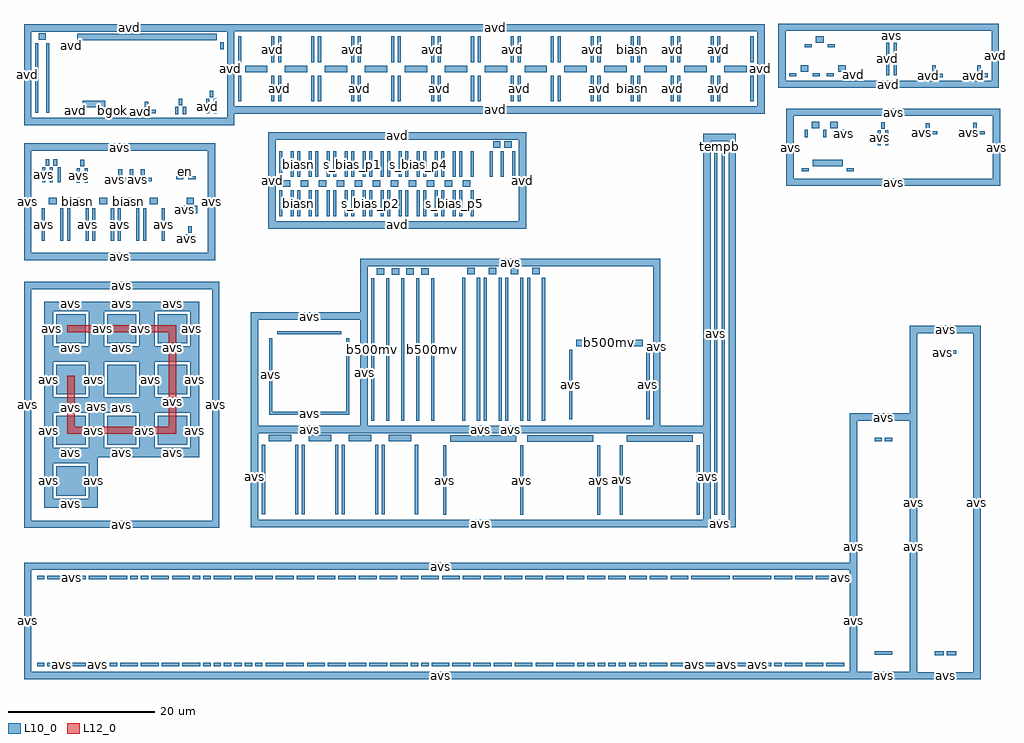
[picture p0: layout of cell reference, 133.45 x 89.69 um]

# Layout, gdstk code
import gdstk
lib = gdstk.Library(unit=1e-6, precision=1e-09)
def R(c, l, rs):  # rectangles x0, y0, x1, y1
    for r in rs: c.add(gdstk.rectangle(r[:2], r[2:], *l))
def A(c, l, x, y, w, h, nx, ny, dx, dy):  # array of equal rectangles
    R(c, l, [(x+i*dx, y+j*dy, x+i*dx+w, y+j*dy+h) for i in range(nx) for j in range(ny)])
L10_0 = (10, 0)
L12_0 = (12, 0)

referenceg_it_xpm8_pm_xp = lib.new_cell('referenceG_IT_XPM8_PM_XPM0_XPM27_XPM28_XPM29_XPM30_XPM31_XPM42_XPM43_XPM48_')
A(referenceg_it_xpm8_pm_xp, L10_0, -13.15, 0.66, 1, 0.89, 11, 1, 2.46, 0)
A(referenceg_it_xpm8_pm_xp, L10_0, 15.1, 2.03, 0.42, 3.5, 3, 1, 1.54, 0)
R(referenceg_it_xpm8_pm_xp, L10_0, [(-15.13,-5.02,20.1,-4.02), (-15.13,-5.02,-14.13,8.13), (19.1,-5.02,20.1,8.13), (-13.63,-3.32,-13.21,0.18), (-12.09,-3.32,-11.67,0.18), (-11.17,-3.32,-10.75,0.18), (-9.63,-3.32,-9.21,0.18), (-8.71,-3.32,-8.29,0.18), (-7.17,-3.32,-6.75,0.18), (-6.25,-3.32,-5.83,0.18), (-4.71,-3.32,-4.29,0.18), (-3.79,-3.32,-3.37,0.18), (-2.25,-3.32,-1.83,0.18), (-1.33,-3.32,-0.91,0.18), (0.21,-3.32,0.63,0.18), (1.13,-3.32,1.55,0.18), (2.67,-3.32,3.09,0.18), (3.59,-3.32,4.01,0.18), (5.13,-3.32,5.55,0.18), (6.05,-3.32,6.47,0.18), (7.59,-3.32,8.01,0.18), (8.51,-3.32,8.93,0.18), (10.05,-3.32,10.47,0.18), (10.97,-3.32,11.39,0.18), (12.51,-3.32,12.93,0.18), (-13.63,2.03,-13.21,5.53), (-12.09,2.03,-11.67,5.53), (-11.17,2.03,-10.75,5.53), (-9.63,2.03,-9.21,5.53), (-8.71,2.03,-8.29,5.53), (-7.17,2.03,-6.75,5.53), (-6.25,2.03,-5.83,5.53), (-4.71,2.03,-4.29,5.53), (-3.79,2.03,-3.37,5.53), (-2.25,2.03,-1.83,5.53), (-1.33,2.03,-0.91,5.53), (0.21,2.03,0.63,5.53), (1.13,2.03,1.55,5.53), (2.67,2.03,3.09,5.53), (3.59,2.03,4.01,5.53), (5.13,2.03,5.55,5.53), (6.05,2.03,6.47,5.53), (7.59,2.03,8.01,5.53), (8.51,2.03,8.93,5.53), (10.05,2.03,10.47,5.53), (10.97,2.03,11.39,5.53), (12.51,2.03,12.93,5.53), (15.58,6.01,16.58,6.9), (17.12,6.01,18.12,6.9), (-15.13,7.13,20.1,8.13)])

referenceg_cm_xnm22_xnm2 = lib.new_cell('referenceG_CM_XNM22_XNM23_IT_XNM15_IT_XNM27')
A(referenceg_cm_xnm22_xnm2, L10_0, 8.755, -44.155, 0.42, 9.5, 3, 1, 10.54, 0)
A(referenceg_cm_xnm22_xnm2, L10_0, -15.065, -34.115, 3.06, 0.89, 4, 1, 5.46, 0)
R(referenceg_cm_xnm22_xnm2, L10_0, [(-17.515,-45.855,45.345,-44.855), (-17.515,-45.855,-16.515,-31.995), (44.345,-45.855,45.345,-31.995), (32.885,-44.145,33.305,-34.645), (43.425,-44.145,43.845,-34.645), (-16.015,-44.095,-15.595,-34.595), (-11.475,-44.095,-11.055,-34.595), (-10.555,-44.095,-10.135,-34.595), (-6.015,-44.095,-5.595,-34.595), (-5.095,-44.095,-4.675,-34.595), (-0.555,-44.095,-0.135,-34.595), (0.365,-44.095,0.785,-34.595), (4.905,-44.095,5.325,-34.595), (9.705,-34.175,18.765,-33.285), (20.245,-34.175,29.305,-33.285), (33.835,-34.165,42.895,-33.275), (-17.515,-32.995,45.345,-31.995)])

referenceg_cm_xnm1_xnm2_ = lib.new_cell('referenceG_CM_XNM1_XNM2_IT_XNM24_IT_XNM4')
A(referenceg_cm_xnm1_xnm2_, L10_0, -1.055, -31.305, 0.42, 19.5, 5, 1, 2.04, 0)
A(referenceg_cm_xnm1_xnm2_, L10_0, -0.34, -11.325, 1.03, 0.89, 4, 1, 2.04, 0)
A(referenceg_cm_xnm1_xnm2_, L10_0, 12.06, -11.295, 1.03, 0.89, 4, 1, 2.96, 0)
R(referenceg_cm_xnm1_xnm2_, L10_0, [(-2.555,-33.005,38.475,-32.005), (-2.555,-33.005,-1.555,-9.175), (37.475,-33.005,38.475,-9.175), (11.345,-31.275,11.765,-11.775), (13.385,-31.275,13.805,-11.775), (14.305,-31.275,14.725,-11.775), (16.345,-31.275,16.765,-11.775), (17.265,-31.275,17.685,-11.775), (19.305,-31.275,19.725,-11.775), (20.225,-31.275,20.645,-11.775), (22.265,-31.275,22.685,-11.775), (26.015,-31.095,26.435,-21.595), (36.555,-31.095,36.975,-21.595), (26.965,-21.115,36.025,-20.225), (-2.555,-10.175,38.475,-9.175)])

referenceg_it_xpm0xi18_i = lib.new_cell('referenceG_IT_XPM0XI18_IT_XPM39_IT_XPM40_IT_XPM5_IT_XPM52_IT_XPM53')
R(referenceg_it_xpm0xi18_i, L10_0, [(-48.54,9.11,-19.77,10.11), (-48.54,9.11,-47.54,22.91), (-20.77,9.11,-19.77,22.91), (-27.86,10.62,-27.44,11.62), (-26.82,10.62,-26.4,11.62), (-33.02,10.72,-32.1,11.22), (-31.48,10.72,-30.56,11.22), (-23.64,10.72,-23.22,12.72), (-22.6,10.72,-22.18,12.72), (-47.04,10.81,-46.62,20.31), (-45.5,10.81,-45.08,20.31), (-41.98,10.84,-41.06,11.34), (-36.94,10.84,-36.02,11.34), (-32.04,11.45,-31.54,12.34), (-40.53,11.57,-37.47,12.46), (-27.38,11.85,-26.88,12.74), (-23.16,12.95,-22.66,13.84), (-42.23,19.48,-41.81,20.48), (-21.69,19.48,-21.27,20.48), (-41.28,20.71,-22.22,21.6), (-46.56,20.79,-45.56,21.68), (-48.54,21.91,-19.77,22.91)])

referenceg_cm_xnm21_xnm2 = lib.new_cell('referenceG_CM_XNM21_XNM28_IT_XNM0XI18_IT_XNM14_IT_XNM17_IT_XNM29_IT_XNM40_P')
A(referenceg_cm_xnm21_xnm2, L10_0, -45.165, -1.735, 1.06, 0.89, 5, 1, 3.46, 0)
A(referenceg_cm_xnm21_xnm2, L10_0, -46.045, 1.335, 0.42, 2, 3, 1, 1.04, 0)
A(referenceg_cm_xnm21_xnm2, L10_0, -36.625, 1.445, 0.92, 0.5, 4, 1, 1.54, 0)
A(referenceg_cm_xnm21_xnm2, L10_0, -35.645, 2.175, 0.5, 0.89, 3, 1, 1.54, 0)
R(referenceg_cm_xnm21_xnm2, L10_0, [(-48.545,-9.345,-22.405,-8.345), (-48.545,-9.345,-47.545,6.615), (-23.405,-9.345,-22.405,6.615), (-26.575,-6.835,-26.155,-5.835), (-25.535,-6.835,-25.115,-5.835), (-46.115,-6.715,-45.695,-2.215), (-43.575,-6.715,-43.155,-2.215), (-42.655,-6.715,-42.235,-2.215), (-40.115,-6.715,-39.695,-2.215), (-39.195,-6.715,-38.775,-2.215), (-36.655,-6.715,-36.235,-2.215), (-35.735,-6.715,-35.315,-2.215), (-33.195,-6.715,-32.775,-2.215), (-32.275,-6.715,-31.855,-2.215), (-29.735,-6.715,-29.315,-2.215), (-26.095,-5.605,-25.595,-4.715), (-26.795,-2.935,-26.375,-1.935), (-25.255,-2.935,-24.835,-1.935), (-26.315,-1.705,-25.315,-0.815), (-41.315,1.245,-40.895,3.245), (-40.275,1.245,-39.855,3.245), (-27.755,1.685,-26.775,2.105), (-26.075,1.685,-25.095,2.105), (-26.675,2.335,-26.175,3.225), (-40.835,3.475,-40.335,4.365), (-45.565,3.565,-45.065,4.455), (-44.525,3.565,-44.025,4.455), (-48.545,5.615,-22.405,6.615)])

referenceic_cc0 = lib.new_cell('referenceIC_CC0')
R(referenceic_cc0, L10_0, [(-17.52,-32.98,-1.56,-31.98), (-17.52,-32.98,-16.52,-16.5), (-2.56,-32.98,-1.56,-16.5), (-15.02,-30.48,-4.06,-30.06), (-15.02,-30.06,-14.6,-20), (-4.48,-30.06,-4.06,-20), (-13.94,-19.5,-5.14,-19.08), (-17.52,-17.5,-1.56,-16.5)])

referenceir_rr14 = lib.new_cell('referenceIR_RR14')
R(referenceir_rr14, L10_0, [(64.38,-66.65,73.54,-65.65), (64.38,-66.65,65.38,-30.31), (72.54,-66.65,73.54,-30.31), (67.75,-63.32,68.75,-62.82), (67.75,-63.32,70.17,-62.82), (67.75,-63.32,68.75,-62.9), (69.17,-63.32,70.17,-62.82), (69.17,-63.32,70.17,-62.9), (67.75,-34.14,68.75,-33.64), (69.17,-34.14,70.17,-33.64), (67.75,-34.06,68.75,-33.64), (69.17,-34.06,70.17,-33.64), (64.38,-31.31,73.54,-30.31)])

referenceit_xnm19 = lib.new_cell('referenceIT_XNM19')
R(referenceit_xnm19, L10_0, [(44.315,-45.865,48.775,-44.865), (44.315,-45.865,45.315,7.935), (47.775,-45.865,48.775,7.935), (45.815,-44.165,46.235,5.335), (46.855,-44.165,47.275,5.335), (46.295,5.815,46.795,6.705), (44.315,6.935,48.775,7.935)])

referencesr_rr48_rr50 = lib.new_cell('referenceSR_RR48_RR50')
A(referencesr_rr48_rr50, L10_0, 75.94, -63.35, 0.42, 0.5, 4, 2, 0.84, 41.18)
A(referencesr_rr48_rr50, L10_0, 75.94, -63.35, 0.42, 0.42, 4, 2, 0.84, 41.26)
R(referencesr_rr48_rr50, L10_0, [(72.57,-66.68,82.25,-65.68), (72.57,-66.68,73.57,-18.34), (81.25,-66.68,82.25,-18.34), (75.94,-63.35,77.2,-62.85), (77.62,-63.35,78.88,-62.85), (72.57,-19.34,82.25,-18.34)])

referencesr_rr10_rr12_rr = lib.new_cell('referenceSR_RR10_RR12_RR15_RR18_RR2_RR27_RR28_RR3_RR39_RR4_RR40_RR41_RR42')
A(referencesr_rr10_rr12_rr, L10_0, -46.77, -64.875, 1, 0.5, 78, 2, 1.42, 11.91)
A(referencesr_rr10_rr12_rr, L10_0, -46.77, -64.875, 1, 0.42, 78, 2, 1.42, 11.99)
A(referencesr_rr10_rr12_rr, L10_0, -35.41, -64.875, 2.42, 0.5, 4, 1, 2.84, 0)
A(referencesr_rr10_rr12_rr, L10_0, -15.53, -64.875, 2.42, 0.5, 7, 1, 2.84, 0)
A(referencesr_rr10_rr12_rr, L10_0, 7.19, -64.875, 2.42, 0.5, 7, 1, 2.84, 0)
A(referencesr_rr10_rr12_rr, L10_0, 55.47, -64.875, 2.42, 0.5, 3, 1, 2.84, 0)
A(referencesr_rr10_rr12_rr, L10_0, -22.63, -52.965, 2.42, 0.5, 23, 1, 2.84, 0)
A(referencesr_rr10_rr12_rr, L10_0, 54.05, -52.965, 2.42, 0.5, 3, 1, 2.84, 0)
R(referencesr_rr10_rr12_rr, L10_0, [(-48.55,-66.655,65.35,-65.655), (-48.55,-66.655,-47.55,-50.685), (64.35,-66.655,65.35,-50.685), (-45.35,-64.875,-40.09,-64.375), (-39.67,-64.875,-37.25,-64.375), (37.01,-64.875,39.43,-64.375), (39.85,-64.875,42.27,-64.375), (42.69,-64.875,47.95,-64.375), (48.37,-64.875,53.63,-64.375), (-45.35,-52.965,-40.09,-52.465), (-39.67,-52.965,-37.25,-52.465), (-36.83,-52.965,-34.41,-52.465), (-31.15,-52.965,-28.73,-52.465), (-28.31,-52.965,-25.89,-52.465), (42.69,-52.965,47.95,-52.465), (48.37,-52.965,53.63,-52.465), (-48.55,-51.685,65.35,-50.685)])

referencebg_qq0_qq3_qq9 = lib.new_cell('referenceBG_QQ0_QQ3_QQ9')
A(referencebg_qq0_qq3_qq9, L10_0, -45.81, -43.22, 1.26, 7.36, 1, 4, 0, 6.94)
A(referencebg_qq0_qq3_qq9, L10_0, -39.71, -43.22, 1.26, 7.36, 1, 4, 0, 6.94)
A(referencebg_qq0_qq3_qq9, L10_0, -44.97, -42.38, 0.42, 5.68, 1, 4, 0, 6.94)
A(referencebg_qq0_qq3_qq9, L10_0, -39.71, -42.38, 0.42, 5.68, 1, 4, 0, 6.94)
A(referencebg_qq0_qq3_qq9, L10_0, -45.81, -36.28, 7.36, 1.26, 3, 2, 6.94, 6.1)
A(referencebg_qq0_qq3_qq9, L10_0, -45.39, -36.28, 6.52, 0.42, 3, 3, 6.94, 6.94)
A(referencebg_qq0_qq3_qq9, L10_0, -38.87, -36.28, 1.26, 7.36, 1, 3, 0, 6.94)
A(referencebg_qq0_qq3_qq9, L10_0, -32.77, -36.28, 1.26, 7.36, 1, 3, 0, 6.94)
A(referencebg_qq0_qq3_qq9, L10_0, -31.93, -36.28, 1.26, 7.36, 1, 3, 0, 6.94)
A(referencebg_qq0_qq3_qq9, L10_0, -25.83, -36.28, 1.26, 7.36, 1, 3, 0, 6.94)
A(referencebg_qq0_qq3_qq9, L10_0, -44.55, -35.44, 4.84, 0.42, 3, 3, 6.94, 6.94)
A(referencebg_qq0_qq3_qq9, L10_0, -38.03, -35.44, 0.42, 5.68, 1, 3, 0, 6.94)
A(referencebg_qq0_qq3_qq9, L10_0, -32.77, -35.44, 0.42, 5.68, 1, 3, 0, 6.94)
A(referencebg_qq0_qq3_qq9, L10_0, -31.09, -35.44, 0.42, 5.68, 1, 3, 0, 6.94)
A(referencebg_qq0_qq3_qq9, L10_0, -25.83, -35.44, 0.42, 5.68, 1, 3, 0, 6.94)
A(referencebg_qq0_qq3_qq9, L10_0, -44.13, -34.6, 4, 4, 3, 3, 6.94, 6.94)
A(referencebg_qq0_qq3_qq9, L10_0, -44.97, -30.18, 5.68, 0.42, 3, 3, 6.94, 6.94)
A(referencebg_qq0_qq3_qq9, L10_0, -45.81, -29.34, 7.36, 1.26, 3, 2, 6.94, 6.1)
A(referencebg_qq0_qq3_qq9, L10_0, -45.81, -22.4, 7.36, 1.26, 3, 2, 6.94, 6.1)
A(referencebg_qq0_qq3_qq9, L10_0, -45.81, -15.46, 7.36, 0.42, 3, 1, 6.94, 0)
R(referencebg_qq0_qq3_qq9, L10_0, [(-48.55,-45.96,-21.83,-44.96), (-48.55,-45.96,-47.55,-12.3), (-22.83,-45.96,-21.83,-12.3), (-45.81,-43.22,-45.39,-15.46), (-45.81,-43.22,-38.45,-41.96), (-45.39,-43.22,-38.87,-42.8), (-38.87,-43.22,-38.45,-15.46), (-44.55,-42.38,-39.71,-41.96), (-44.13,-41.54,-40.13,-37.54), (-45.81,-37.12,-38.45,-35.86), (-44.97,-37.12,-39.29,-36.7), (-31.93,-36.28,-31.51,-15.46), (-24.99,-36.28,-24.57,-15.46), (-48.55,-13.3,-21.83,-12.3)])
R(referencebg_qq0_qq3_qq9, L12_0, [(-42.63,-33.1,-27.75,-32.1), (-42.63,-33.1,-41.63,-25.16), (-28.75,-33.1,-27.75,-18.22), (-42.63,-19.22,-27.75,-18.22)])

referencecm_xpm1_xpm2_xp = lib.new_cell('referenceCM_XPM1_XPM2_XPM32_XPM33_XPM34_XPM35_XPM36_XPM44_XPM45_XPM46_XPM')
A(referencecm_xpm1_xpm2_xp, L10_0, -18.33, 16.37, 3.06, 0.89, 13, 1, 5.46, 0)
R(referencecm_xpm1_xpm2_xp, L10_0, [(-20.78,10.69,52.7,11.69), (-20.78,10.69,-19.78,22.94), (51.7,10.69,52.7,22.94), (-19.28,12.39,-18.86,15.89), (-14.74,12.39,-14.32,15.89), (-13.82,12.39,-13.4,15.89), (-9.28,12.39,-8.86,15.89), (-8.36,12.39,-7.94,15.89), (-3.82,12.39,-3.4,15.89), (-2.9,12.39,-2.48,15.89), (1.64,12.39,2.06,15.89), (2.56,12.39,2.98,15.89), (7.1,12.39,7.52,15.89), (8.02,12.39,8.44,15.89), (12.56,12.39,12.98,15.89), (13.48,12.39,13.9,15.89), (18.02,12.39,18.44,15.89), (18.94,12.39,19.36,15.89), (23.48,12.39,23.9,15.89), (24.4,12.39,24.82,15.89), (28.94,12.39,29.36,15.89), (29.86,12.39,30.28,15.89), (34.4,12.39,34.82,15.89), (35.32,12.39,35.74,15.89), (39.86,12.39,40.28,15.89), (40.78,12.39,41.2,15.89), (45.32,12.39,45.74,15.89), (46.24,12.39,46.66,15.89), (50.78,12.39,51.2,15.89), (-19.28,17.74,-18.86,21.24), (-14.74,17.74,-14.32,21.24), (-13.82,17.74,-13.4,21.24), (-9.28,17.74,-8.86,21.24), (-8.36,17.74,-7.94,21.24), (-3.82,17.74,-3.4,21.24), (-2.9,17.74,-2.48,21.24), (1.64,17.74,2.06,21.24), (2.56,17.74,2.98,21.24), (7.1,17.74,7.52,21.24), (8.02,17.74,8.44,21.24), (12.56,17.74,12.98,21.24), (13.48,17.74,13.9,21.24), (18.02,17.74,18.44,21.24), (18.94,17.74,19.36,21.24), (23.48,17.74,23.9,21.24), (24.4,17.74,24.82,21.24), (28.94,17.74,29.36,21.24), (29.86,17.74,30.28,21.24), (34.4,17.74,34.82,21.24), (35.32,17.74,35.74,21.24), (39.86,17.74,40.28,21.24), (40.78,17.74,41.2,21.24), (45.32,17.74,45.74,21.24), (46.24,17.74,46.66,21.24), (50.78,17.74,51.2,21.24), (-20.78,21.94,52.7,22.94)])

referencexi0g_it_xnm0xi3 = lib.new_cell('referenceXI0G_IT_XNM0XI3_IT_XNM0XI4_IT_XNM3_IT_XNM4_SM_XNM0_XNM2')
A(referencexi0g_it_xnm0xi3, L10_0, 58.185, 7.455, 0.42, 1, 3, 1, 2.54, 0)
R(referencexi0g_it_xnm0xi3, L10_0, [(55.685,0.795,84.895,1.795), (55.685,0.795,56.685,11.375), (83.895,0.795,84.895,11.375), (57.755,2.815,58.735,3.235), (63.935,2.815,64.915,3.235), (59.305,3.465,63.365,4.355), (68.185,6.385,68.605,8.385), (69.225,6.385,69.645,8.385), (73.685,7.835,74.665,8.255), (75.365,7.835,76.345,8.255), (80.165,7.875,81.145,8.295), (81.845,7.875,82.825,8.295), (74.765,8.485,75.265,9.375), (81.245,8.525,81.745,9.415), (68.665,8.615,69.165,9.505), (59.135,8.685,60.195,9.575), (61.675,8.685,62.735,9.575), (55.685,10.375,84.895,11.375)])

referencexi0g_it_xpm0xi3 = lib.new_cell('referenceXI0G_IT_XPM0XI3_IT_XPM0XI4_IT_XPM2_IT_XPM3_SM_XPM0_XPM1')
R(referencexi0g_it_xpm0xi3, L10_0, [(54.58,14.2,84.74,15.2), (54.58,14.2,55.58,23.01), (83.74,14.2,84.74,23.01), (74.62,15.65,75.54,16.15), (76.16,15.65,77.08,16.15), (80.78,15.68,81.7,16.18), (82.32,15.68,83.24,16.18), (56.08,15.77,57.06,16.19), (59.26,15.77,60.24,16.19), (61.2,15.77,62.18,16.19), (64.38,15.77,65.36,16.19), (69.31,15.91,69.73,20.41), (70.35,15.91,70.77,20.41), (75.6,16.38,76.1,17.27), (81.76,16.41,82.26,17.3), (57.63,16.42,58.69,17.31), (62.75,16.42,63.81,17.31), (58.17,19.74,59.15,20.16), (61.35,19.74,62.33,20.16), (59.72,20.39,60.78,21.28), (69.79,20.89,70.29,21.78), (54.58,22.01,84.74,23.01)])

referencexi0 = lib.new_cell('referenceXI0')
referencexi0.add(gdstk.Reference(referencexi0g_it_xnm0xi3, (0,0)))
referencexi0.add(gdstk.Reference(referencexi0g_it_xpm0xi3, (0,0)))

reference = lib.new_cell('reference')
reference.add(gdstk.Reference(referenceg_it_xpm8_pm_xp, (0,0)))
reference.add(gdstk.Reference(referenceg_cm_xnm22_xnm2, (0,0)))
reference.add(gdstk.Reference(referenceg_cm_xnm1_xnm2_, (0,0)))
reference.add(gdstk.Reference(referenceg_it_xpm0xi18_i, (0,0)))
reference.add(gdstk.Reference(referenceg_cm_xnm21_xnm2, (0,0)))
reference.add(gdstk.Reference(referenceic_cc0, (0,0)))
reference.add(gdstk.Reference(referenceir_rr14, (0,0)))
reference.add(gdstk.Reference(referenceit_xnm19, (0,0)))
reference.add(gdstk.Reference(referencesr_rr48_rr50, (0,0)))
reference.add(gdstk.Reference(referencesr_rr10_rr12_rr, (0,0)))
reference.add(gdstk.Reference(referencebg_qq0_qq3_qq9, (0,0)))
reference.add(gdstk.Reference(referencecm_xpm1_xpm2_xp, (0,0)))
reference.add(gdstk.Reference(referencexi0, (0,0)))
reference.add(gdstk.Label('avd', (19.6,1.555), layer=10, texttype=1))
reference.add(gdstk.Label('b500mv', (31.495,-20.67), layer=10, texttype=1))
reference.add(gdstk.Label('avs', (37.975,-21.09), layer=10, texttype=1))
reference.add(gdstk.Label('avs', (46.025,-19.415), layer=10, texttype=1))
reference.add(gdstk.Label('tempb', (46.545,6.26), layer=10, texttype=1))
reference.add(gdstk.Label('avs', (44.815,-18.965), layer=10, texttype=1))
reference.add(gdstk.Label('avs', (48.275,-18.965), layer=10, texttype=1))
reference.add(gdstk.Label('avs', (46.545,7.435), layer=10, texttype=1))
reference.add(gdstk.Label('avs', (77.41,-18.84), layer=10, texttype=1))
reference.add(gdstk.Label('avd', (19.15,14.14), layer=10, texttype=1))
reference.add(gdstk.Label('avd', (29.15,19.49), layer=10, texttype=1))
reference.add(gdstk.Label('avd', (30.07,19.49), layer=10, texttype=1))
reference.add(gdstk.Label('avd', (18.23,19.49), layer=10, texttype=1))
reference.add(gdstk.Label('avd', (40.07,19.49), layer=10, texttype=1))
reference.add(gdstk.Label('avd', (40.99,19.49), layer=10, texttype=1))
reference.add(gdstk.Label('avd', (46.45,14.14), layer=10, texttype=1))
reference.add(gdstk.Label('avd', (30.07,14.14), layer=10, texttype=1))
reference.add(gdstk.Label('avd', (19.15,19.49), layer=10, texttype=1))
reference.add(gdstk.Label('avd', (40.07,14.14), layer=10, texttype=1))
reference.add(gdstk.Label('avd', (18.23,14.14), layer=10, texttype=1))
reference.add(gdstk.Label('avd', (46.45,19.49), layer=10, texttype=1))
reference.add(gdstk.Label('avd', (29.15,14.14), layer=10, texttype=1))
reference.add(gdstk.Label('avd', (40.99,14.14), layer=10, texttype=1))
reference.add(gdstk.Label('s_bias_p3', (23.69,19.49), layer=10, texttype=1))
reference.add(gdstk.Label('s_bias_p3', (23.69,14.14), layer=10, texttype=1))
reference.add(gdstk.Label('s_bias_p6', (24.61,19.49), layer=10, texttype=1))
reference.add(gdstk.Label('s_bias_p6', (24.61,14.14), layer=10, texttype=1))
reference.add(gdstk.Label('biasn', (34.61,19.49), layer=10, texttype=1))
reference.add(gdstk.Label('biasn', (34.61,14.14), layer=10, texttype=1))
reference.add(gdstk.Label('s_bias_p4', (50.99,19.49), layer=10, texttype=1))
reference.add(gdstk.Label('s_bias_p4', (50.99,14.14), layer=10, texttype=1))
reference.add(gdstk.Label('avd', (52.2,16.815), layer=10, texttype=1))
reference.add(gdstk.Label('avs', (63.475,7.955), layer=10, texttype=1))
reference.add(gdstk.Label('avs', (68.395,7.385), layer=10, texttype=1))
reference.add(gdstk.Label('avd', (68.915,9.06), layer=10, texttype=1))
reference.add(gdstk.Label('avs', (74.175,8.045), layer=10, texttype=1))
reference.add(gdstk.Label('tempb', (75.015,8.93), layer=10, texttype=1))
reference.add(gdstk.Label('avs', (80.655,8.085), layer=10, texttype=1))
reference.add(gdstk.Label('tempb', (82.335,8.085), layer=10, texttype=1))
reference.add(gdstk.Label('avs', (70.29,1.295), layer=10, texttype=1))
reference.add(gdstk.Label('avs', (56.185,6.085), layer=10, texttype=1))
reference.add(gdstk.Label('avs', (84.395,6.085), layer=10, texttype=1))
reference.add(gdstk.Label('avs', (70.29,10.875), layer=10, texttype=1))
reference.add(gdstk.Label('avd', (64.87,15.98), layer=10, texttype=1))
reference.add(gdstk.Label('avd', (69.52,18.16), layer=10, texttype=1))
reference.add(gdstk.Label('avs', (70.04,21.335), layer=10, texttype=1))
reference.add(gdstk.Label('avd', (75.08,15.9), layer=10, texttype=1))
reference.add(gdstk.Label('tempb', (75.85,16.825), layer=10, texttype=1))
reference.add(gdstk.Label('avd', (81.24,15.93), layer=10, texttype=1))
reference.add(gdstk.Label('tempb', (82.78,15.93), layer=10, texttype=1))
reference.add(gdstk.Label('avd', (69.66,14.7), layer=10, texttype=1))
reference.add(gdstk.Label('avd', (55.08,18.605), layer=10, texttype=1))
reference.add(gdstk.Label('avd', (84.24,18.605), layer=10, texttype=1))
reference.add(gdstk.Label('avd', (69.66,22.51), layer=10, texttype=1))
reference.add(gdstk.Label('s_bias_p1', (-3.58,3.78), layer=10, texttype=1))
reference.add(gdstk.Label('s_bias_p1', (-2.04,3.78), layer=10, texttype=1))
reference.add(gdstk.Label('s_bias_p2', (0.42,3.78), layer=10, texttype=1))
reference.add(gdstk.Label('avd', (8.23,14.14), layer=10, texttype=1))
reference.add(gdstk.Label('s_bias_p2', (-1.12,3.78), layer=10, texttype=1))
reference.add(gdstk.Label('avd', (-14.53,19.49), layer=10, texttype=1))
reference.add(gdstk.Label('s_bias_p3', (1.34,3.78), layer=10, texttype=1))
reference.add(gdstk.Label('avd', (-13.61,14.14), layer=10, texttype=1))
reference.add(gdstk.Label('avd', (7.31,19.49), layer=10, texttype=1))
reference.add(gdstk.Label('s_bias_p3', (2.88,3.78), layer=10, texttype=1))
reference.add(gdstk.Label('avd', (-13.61,19.49), layer=10, texttype=1))
reference.add(gdstk.Label('s_bias_p4', (3.8,3.78), layer=10, texttype=1))
reference.add(gdstk.Label('s_bias_p4', (5.34,3.78), layer=10, texttype=1))
reference.add(gdstk.Label('avd', (8.23,19.49), layer=10, texttype=1))
reference.add(gdstk.Label('avd', (7.31,14.14), layer=10, texttype=1))
reference.add(gdstk.Label('avd', (-3.61,19.49), layer=10, texttype=1))
reference.add(gdstk.Label('avd', (-2.69,19.49), layer=10, texttype=1))
reference.add(gdstk.Label('avd', (-2.69,14.14), layer=10, texttype=1))
reference.add(gdstk.Label('avd', (-3.61,14.14), layer=10, texttype=1))
reference.add(gdstk.Label('s_bias_p6', (6.26,3.78), layer=10, texttype=1))
reference.add(gdstk.Label('avd', (-14.53,14.14), layer=10, texttype=1))
reference.add(gdstk.Label('s_bias_p6', (7.8,3.78), layer=10, texttype=1))
reference.add(gdstk.Label('s_bias_p5', (10.26,3.78), layer=10, texttype=1))
reference.add(gdstk.Label('s_bias_p5', (8.72,3.78), layer=10, texttype=1))
reference.add(gdstk.Label('s_bias_p2', (-8.15,19.49), layer=10, texttype=1))
reference.add(gdstk.Label('s_bias_p2', (-8.15,14.14), layer=10, texttype=1))
reference.add(gdstk.Label('s_bias_p1', (-9.07,19.49), layer=10, texttype=1))
reference.add(gdstk.Label('s_bias_p1', (-9.07,14.14), layer=10, texttype=1))
reference.add(gdstk.Label('avd', (-14.63,1.555), layer=10, texttype=1))
reference.add(gdstk.Label('biasn', (-10.96,3.78), layer=10, texttype=1))
reference.add(gdstk.Label('avd', (15.96,11.19), layer=10, texttype=1))
reference.add(gdstk.Label('avd', (2.485,7.63), layer=10, texttype=1))
reference.add(gdstk.Label('avd', (15.96,22.44), layer=10, texttype=1))
reference.add(gdstk.Label('biasn', (-9.42,3.78), layer=10, texttype=1))
reference.add(gdstk.Label('en', (-26.425,2.78), layer=10, texttype=1))
reference.add(gdstk.Label('avs', (-35.475,6.115), layer=10, texttype=1))
reference.add(gdstk.Label('avs', (-36.165,1.695), layer=10, texttype=1))
reference.add(gdstk.Label('avs', (-33.085,1.695), layer=10, texttype=1))
reference.add(gdstk.Label('avs', (-41.105,2.245), layer=10, texttype=1))
reference.add(gdstk.Label('s_bias_p5', (-19.07,19.49), layer=10, texttype=1))
reference.add(gdstk.Label('s_bias_p5', (-19.07,14.14), layer=10, texttype=1))
reference.add(gdstk.Label('biasn', (-40.065,2.245), layer=10, texttype=1))
reference.add(gdstk.Label('avd', (-20.28,16.815), layer=10, texttype=1))
reference.add(gdstk.Label('avs', (-45.835,2.335), layer=10, texttype=1))
reference.add(gdstk.Label('avs', (-43.755,2.335), layer=10, texttype=1))
reference.add(gdstk.Label('avs', (-27.265,1.895), layer=10, texttype=1))
reference.add(gdstk.Label('avd', (-41.52,11.09), layer=10, texttype=1))
reference.add(gdstk.Label('bgok', (-36.48,11.09), layer=10, texttype=1))
reference.add(gdstk.Label('avd', (-23.43,11.72), layer=10, texttype=1))
reference.add(gdstk.Label('en', (-22.91,13.395), layer=10, texttype=1))
reference.add(gdstk.Label('avd', (-42.02,19.98), layer=10, texttype=1))
reference.add(gdstk.Label('avd', (-32.56,10.97), layer=10, texttype=1))
reference.add(gdstk.Label('en', (-31.79,11.895), layer=10, texttype=1))
reference.add(gdstk.Label('avd', (-34.155,9.61), layer=10, texttype=1))
reference.add(gdstk.Label('avd', (-48.04,16.01), layer=10, texttype=1))
reference.add(gdstk.Label('avd', (-20.27,16.01), layer=10, texttype=1))
reference.add(gdstk.Label('avd', (-34.155,22.41), layer=10, texttype=1))
reference.add(gdstk.Label('biasn', (-34.255,-1.29), layer=10, texttype=1))
reference.add(gdstk.Label('avs', (-39.905,-4.465), layer=10, texttype=1))
reference.add(gdstk.Label('avs', (-35.475,-8.845), layer=10, texttype=1))
reference.add(gdstk.Label('avs', (-48.045,-1.365), layer=10, texttype=1))
reference.add(gdstk.Label('avs', (-22.905,-1.365), layer=10, texttype=1))
reference.add(gdstk.Label('biasn', (-36.445,-4.465), layer=10, texttype=1))
reference.add(gdstk.Label('biasn', (-37.715,-1.29), layer=10, texttype=1))
reference.add(gdstk.Label('biasn', (-41.175,-1.29), layer=10, texttype=1))
reference.add(gdstk.Label('avs', (-32.56,-18.72), layer=10, texttype=1))
reference.add(gdstk.Label('avs', (-37.82,-18.72), layer=10, texttype=1))
reference.add(gdstk.Label('avs', (-35.19,-21.35), layer=10, texttype=1))
reference.add(gdstk.Label('avs', (-39.5,-18.72), layer=10, texttype=1))
reference.add(gdstk.Label('avs', (-44.76,-18.72), layer=10, texttype=1))
reference.add(gdstk.Label('avs', (-42.13,-21.35), layer=10, texttype=1))
reference.add(gdstk.Label('avs', (-25.62,-18.72), layer=10, texttype=1))
reference.add(gdstk.Label('avs', (-30.88,-18.72), layer=10, texttype=1))
reference.add(gdstk.Label('avs', (-28.25,-21.35), layer=10, texttype=1))
reference.add(gdstk.Label('avs', (-42.13,-15.25), layer=10, texttype=1))
reference.add(gdstk.Label('avs', (-42.13,-16.09), layer=10, texttype=1))
reference.add(gdstk.Label('avs', (-35.19,-15.25), layer=10, texttype=1))
reference.add(gdstk.Label('avs', (-35.19,-16.09), layer=10, texttype=1))
reference.add(gdstk.Label('avs', (-28.25,-15.25), layer=10, texttype=1))
reference.add(gdstk.Label('avs', (-28.25,-16.09), layer=10, texttype=1))
reference.add(gdstk.Label('avs', (-42.13,-15.67), layer=10, texttype=1))
reference.add(gdstk.Label('avs', (-42.13,-21.77), layer=10, texttype=1))
reference.add(gdstk.Label('avs', (-45.18,-18.72), layer=10, texttype=1))
reference.add(gdstk.Label('avs', (-39.08,-18.72), layer=10, texttype=1))
reference.add(gdstk.Label('avs', (-35.19,-15.67), layer=10, texttype=1))
reference.add(gdstk.Label('avs', (-35.19,-21.77), layer=10, texttype=1))
reference.add(gdstk.Label('avs', (-38.24,-18.72), layer=10, texttype=1))
reference.add(gdstk.Label('avs', (-32.14,-18.72), layer=10, texttype=1))
reference.add(gdstk.Label('avs', (-28.25,-15.67), layer=10, texttype=1))
reference.add(gdstk.Label('avs', (-28.25,-21.77), layer=10, texttype=1))
reference.add(gdstk.Label('avs', (-31.3,-18.72), layer=10, texttype=1))
reference.add(gdstk.Label('avs', (-25.2,-18.72), layer=10, texttype=1))
reference.add(gdstk.Label('avs', (-35.19,-12.8), layer=10, texttype=1))
reference.add(gdstk.Label('avs', (-26.365,-6.335), layer=10, texttype=1))
reference.add(gdstk.Label('biasn', (-44.635,-1.29), layer=10, texttype=1))
reference.add(gdstk.Label('biasn', (-30.795,-1.29), layer=10, texttype=1))
reference.add(gdstk.Label('avs', (-26.585,-2.435), layer=10, texttype=1))
reference.add(gdstk.Label('bgok', (-25.045,-2.435), layer=10, texttype=1))
reference.add(gdstk.Label('avs', (-38.985,-4.465), layer=10, texttype=1))
reference.add(gdstk.Label('avs', (-29.525,-4.465), layer=10, texttype=1))
reference.add(gdstk.Label('avs', (-35.525,-4.465), layer=10, texttype=1))
reference.add(gdstk.Label('avs', (-45.905,-4.465), layer=10, texttype=1))
reference.add(gdstk.Label('b500mv', (-0.845,-21.555), layer=10, texttype=1))
reference.add(gdstk.Label('b500mv', (3.235,-21.555), layer=10, texttype=1))
reference.add(gdstk.Label('b500mv', (7.315,-21.555), layer=10, texttype=1))
reference.add(gdstk.Label('avs', (-2.055,-21.09), layer=10, texttype=1))
reference.add(gdstk.Label('biasn', (-10.96,-1.57), layer=10, texttype=1))
reference.add(gdstk.Label('avs', (17.96,-9.675), layer=10, texttype=1))
reference.add(gdstk.Label('s_bias_p5', (10.26,-1.57), layer=10, texttype=1))
reference.add(gdstk.Label('avd', (2.485,-4.52), layer=10, texttype=1))
reference.add(gdstk.Label('s_bias_p2', (-1.12,-1.57), layer=10, texttype=1))
reference.add(gdstk.Label('s_bias_p2', (0.42,-1.57), layer=10, texttype=1))
reference.add(gdstk.Label('s_bias_p1', (-3.58,-1.57), layer=10, texttype=1))
reference.add(gdstk.Label('s_bias_p4', (3.8,-1.57), layer=10, texttype=1))
reference.add(gdstk.Label('s_bias_p3', (1.34,-1.57), layer=10, texttype=1))
reference.add(gdstk.Label('avs', (-9.54,-17), layer=10, texttype=1))
reference.add(gdstk.Label('biasn', (-9.42,-1.57), layer=10, texttype=1))
reference.add(gdstk.Label('s_bias_p6', (6.26,-1.57), layer=10, texttype=1))
reference.add(gdstk.Label('s_bias_p1', (-2.04,-1.57), layer=10, texttype=1))
reference.add(gdstk.Label('s_bias_p6', (7.8,-1.57), layer=10, texttype=1))
reference.add(gdstk.Label('s_bias_p3', (2.88,-1.57), layer=10, texttype=1))
reference.add(gdstk.Label('s_bias_p4', (5.34,-1.57), layer=10, texttype=1))
reference.add(gdstk.Label('s_bias_p5', (8.72,-1.57), layer=10, texttype=1))
reference.add(gdstk.Label('avs', (-14.81,-25.03), layer=10, texttype=1))
reference.add(gdstk.Label('avs', (-9.54,-32.48), layer=10, texttype=1))
reference.add(gdstk.Label('avs', (-2.06,-24.74), layer=10, texttype=1))
reference.add(gdstk.Label('avs', (8.965,-39.405), layer=10, texttype=1))
reference.add(gdstk.Label('avs', (13.915,-32.495), layer=10, texttype=1))
reference.add(gdstk.Label('avs', (17.96,-32.505), layer=10, texttype=1))
reference.add(gdstk.Label('avs', (-9.54,-30.27), layer=10, texttype=1))
reference.add(gdstk.Label('avs', (-4.27,-25.03), layer=10, texttype=1))
reference.add(gdstk.Label('avs', (-28.25,-22.61), layer=10, texttype=1))
reference.add(gdstk.Label('avs', (-28.25,-28.71), layer=10, texttype=1))
reference.add(gdstk.Label('avs', (-31.3,-25.66), layer=10, texttype=1))
reference.add(gdstk.Label('avs', (-25.2,-25.66), layer=10, texttype=1))
reference.add(gdstk.Label('avs', (-42.13,-29.55), layer=10, texttype=1))
reference.add(gdstk.Label('avs', (-42.13,-35.65), layer=10, texttype=1))
reference.add(gdstk.Label('avs', (-45.18,-32.6), layer=10, texttype=1))
reference.add(gdstk.Label('avs', (-39.08,-32.6), layer=10, texttype=1))
reference.add(gdstk.Label('avs', (-35.19,-29.55), layer=10, texttype=1))
reference.add(gdstk.Label('avs', (-35.19,-35.65), layer=10, texttype=1))
reference.add(gdstk.Label('avs', (-38.24,-32.6), layer=10, texttype=1))
reference.add(gdstk.Label('avs', (-32.14,-32.6), layer=10, texttype=1))
reference.add(gdstk.Label('avs', (-28.25,-29.55), layer=10, texttype=1))
reference.add(gdstk.Label('avs', (-28.25,-35.65), layer=10, texttype=1))
reference.add(gdstk.Label('avs', (-31.3,-32.6), layer=10, texttype=1))
reference.add(gdstk.Label('avs', (-25.2,-32.6), layer=10, texttype=1))
reference.add(gdstk.Label('avs', (-42.13,-36.49), layer=10, texttype=1))
reference.add(gdstk.Label('avs', (-42.13,-42.59), layer=10, texttype=1))
reference.add(gdstk.Label('avs', (-45.18,-39.54), layer=10, texttype=1))
reference.add(gdstk.Label('avs', (-39.08,-39.54), layer=10, texttype=1))
reference.add(gdstk.Label('avs', (-48.05,-29.13), layer=10, texttype=1))
reference.add(gdstk.Label('avs', (-22.33,-29.13), layer=10, texttype=1))
reference.add(gdstk.Label('avs', (-38.66,-29.34), layer=10, texttype=1))
reference.add(gdstk.Label('avs', (-45.6,-29.34), layer=10, texttype=1))
reference.add(gdstk.Label('avs', (-31.72,-25.87), layer=10, texttype=1))
reference.add(gdstk.Label('avs', (-24.78,-25.87), layer=10, texttype=1))
reference.add(gdstk.Label('avs', (-35.19,-22.19), layer=10, texttype=1))
reference.add(gdstk.Label('avs', (-28.25,-29.13), layer=10, texttype=1))
reference.add(gdstk.Label('avs', (-42.13,-22.19), layer=10, texttype=1))
reference.add(gdstk.Label('avs', (-42.13,-29.13), layer=10, texttype=1))
reference.add(gdstk.Label('avs', (-42.13,-36.07), layer=10, texttype=1))
reference.add(gdstk.Label('avs', (-42.13,-43.01), layer=10, texttype=1))
reference.add(gdstk.Label('avs', (-35.19,-29.13), layer=10, texttype=1))
reference.add(gdstk.Label('avs', (-28.25,-22.19), layer=10, texttype=1))
reference.add(gdstk.Label('avs', (-35.19,-36.07), layer=10, texttype=1))
reference.add(gdstk.Label('avs', (-28.25,-36.07), layer=10, texttype=1))
reference.add(gdstk.Label('avs', (-32.56,-32.6), layer=10, texttype=1))
reference.add(gdstk.Label('avs', (-37.82,-32.6), layer=10, texttype=1))
reference.add(gdstk.Label('avs', (-35.19,-35.23), layer=10, texttype=1))
reference.add(gdstk.Label('avs', (-42.13,-22.61), layer=10, texttype=1))
reference.add(gdstk.Label('avs', (-42.13,-28.71), layer=10, texttype=1))
reference.add(gdstk.Label('avs', (-17.02,-24.74), layer=10, texttype=1))
reference.add(gdstk.Label('avs', (-25.62,-25.66), layer=10, texttype=1))
reference.add(gdstk.Label('avs', (-30.88,-25.66), layer=10, texttype=1))
reference.add(gdstk.Label('avs', (-28.25,-28.29), layer=10, texttype=1))
reference.add(gdstk.Label('avs', (-39.5,-39.54), layer=10, texttype=1))
reference.add(gdstk.Label('avs', (-44.76,-39.54), layer=10, texttype=1))
reference.add(gdstk.Label('avs', (-42.13,-42.17), layer=10, texttype=1))
reference.add(gdstk.Label('avs', (-45.18,-25.66), layer=10, texttype=1))
reference.add(gdstk.Label('avs', (-39.08,-25.66), layer=10, texttype=1))
reference.add(gdstk.Label('avs', (-39.5,-32.6), layer=10, texttype=1))
reference.add(gdstk.Label('avs', (-44.76,-32.6), layer=10, texttype=1))
reference.add(gdstk.Label('avs', (-42.13,-35.23), layer=10, texttype=1))
reference.add(gdstk.Label('avs', (-25.62,-32.6), layer=10, texttype=1))
reference.add(gdstk.Label('avs', (-30.88,-32.6), layer=10, texttype=1))
reference.add(gdstk.Label('avs', (-28.25,-35.23), layer=10, texttype=1))
reference.add(gdstk.Label('avs', (-39.5,-25.66), layer=10, texttype=1))
reference.add(gdstk.Label('avs', (-44.76,-25.66), layer=10, texttype=1))
reference.add(gdstk.Label('avs', (-42.13,-28.29), layer=10, texttype=1))
reference.add(gdstk.Label('avs', (-17.015,-38.925), layer=10, texttype=1))
reference.add(gdstk.Label('avs', (-35.19,-22.61), layer=10, texttype=1))
reference.add(gdstk.Label('avs', (-35.19,-28.71), layer=10, texttype=1))
reference.add(gdstk.Label('avs', (-32.56,-25.66), layer=10, texttype=1))
reference.add(gdstk.Label('avs', (-37.82,-25.66), layer=10, texttype=1))
reference.add(gdstk.Label('avs', (-35.19,-28.29), layer=10, texttype=1))
reference.add(gdstk.Label('avs', (-38.24,-25.66), layer=10, texttype=1))
reference.add(gdstk.Label('avs', (-32.14,-25.66), layer=10, texttype=1))
reference.add(gdstk.Label('avs', (-42.13,-23.03), layer=10, texttype=1))
reference.add(gdstk.Label('avs', (-35.19,-23.03), layer=10, texttype=1))
reference.add(gdstk.Label('avs', (-28.25,-23.03), layer=10, texttype=1))
reference.add(gdstk.Label('avs', (-42.13,-29.97), layer=10, texttype=1))
reference.add(gdstk.Label('avs', (-35.19,-29.97), layer=10, texttype=1))
reference.add(gdstk.Label('avs', (-28.25,-29.97), layer=10, texttype=1))
reference.add(gdstk.Label('avs', (-42.13,-36.91), layer=10, texttype=1))
reference.add(gdstk.Label('avs', (-35.19,-45.46), layer=10, texttype=1))
reference.add(gdstk.Label('avs', (-42.01,-52.715), layer=10, texttype=1))
reference.add(gdstk.Label('avs', (-40.59,-52.715), layer=10, texttype=1))
reference.add(gdstk.Label('avs', (-43.43,-64.665), layer=10, texttype=1))
reference.add(gdstk.Label('avs', (-40.59,-64.665), layer=10, texttype=1))
reference.add(gdstk.Label('avs', (-42.01,-64.665), layer=10, texttype=1))
reference.add(gdstk.Label('avs', (-40.59,-52.675), layer=10, texttype=1))
reference.add(gdstk.Label('avs', (-42.01,-52.675), layer=10, texttype=1))
reference.add(gdstk.Label('avs', (-43.43,-52.675), layer=10, texttype=1))
reference.add(gdstk.Label('avs', (-44.85,-52.675), layer=10, texttype=1))
reference.add(gdstk.Label('avs', (-48.05,-58.67), layer=10, texttype=1))
reference.add(gdstk.Label('avs', (-42.72,-64.625), layer=10, texttype=1))
reference.add(gdstk.Label('avs', (-42.72,-52.715), layer=10, texttype=1))
reference.add(gdstk.Label('avs', (-38.46,-64.625), layer=10, texttype=1))
reference.add(gdstk.Label('avs', (-39.17,-64.625), layer=10, texttype=1))
reference.add(gdstk.Label('avs', (-43.43,-52.715), layer=10, texttype=1))
reference.add(gdstk.Label('avs', (-44.85,-64.625), layer=10, texttype=1))
reference.add(gdstk.Label('avs', (-42.01,-64.625), layer=10, texttype=1))
reference.add(gdstk.Label('avs', (-44.85,-64.665), layer=10, texttype=1))
reference.add(gdstk.Label('avs', (-39.17,-64.665), layer=10, texttype=1))
reference.add(gdstk.Label('avs', (-37.75,-64.665), layer=10, texttype=1))
reference.add(gdstk.Label('avs', (-44.85,-52.715), layer=10, texttype=1))
reference.add(gdstk.Label('avs', (-40.59,-64.625), layer=10, texttype=1))
reference.add(gdstk.Label('avs', (-43.43,-64.625), layer=10, texttype=1))
reference.add(gdstk.Label('avs', (-37.75,-64.625), layer=10, texttype=1))
reference.add(gdstk.Label('avs', (8.4,-51.185), layer=10, texttype=1))
reference.add(gdstk.Label('avs', (13.915,-45.355), layer=10, texttype=1))
reference.add(gdstk.Label('avs', (8.4,-66.155), layer=10, texttype=1))
reference.add(gdstk.Label('avs', (64.85,-58.67), layer=10, texttype=1))
reference.add(gdstk.Label('avs', (73.04,-48.48), layer=10, texttype=1))
reference.add(gdstk.Label('avs', (51.71,-64.625), layer=10, texttype=1))
reference.add(gdstk.Label('avs', (47.45,-64.625), layer=10, texttype=1))
reference.add(gdstk.Label('avs', (68.96,-30.81), layer=10, texttype=1))
reference.add(gdstk.Label('avs', (50.29,-64.625), layer=10, texttype=1))
reference.add(gdstk.Label('avs', (48.87,-64.625), layer=10, texttype=1))
reference.add(gdstk.Label('avs', (44.845,-38.925), layer=10, texttype=1))
reference.add(gdstk.Label('avs', (44.61,-64.625), layer=10, texttype=1))
reference.add(gdstk.Label('avs', (33.095,-39.395), layer=10, texttype=1))
reference.add(gdstk.Label('avs', (46.545,-45.365), layer=10, texttype=1))
reference.add(gdstk.Label('avs', (26.225,-26.345), layer=10, texttype=1))
reference.add(gdstk.Label('avs', (36.765,-26.345), layer=10, texttype=1))
reference.add(gdstk.Label('b500mv', (54.55,-64.625), layer=10, texttype=1))
reference.add(gdstk.Label('avs', (43.635,-39.395), layer=10, texttype=1))
reference.add(gdstk.Label('avs', (76.99,-21.92), layer=10, texttype=1))
reference.add(gdstk.Label('avd', (77.83,-21.92), layer=10, texttype=1))
reference.add(gdstk.Label('avs', (45.32,-64.625), layer=10, texttype=1))
reference.add(gdstk.Label('avs', (51,-64.625), layer=10, texttype=1))
reference.add(gdstk.Label('avs', (76.99,-21.88), layer=10, texttype=1))
reference.add(gdstk.Label('avs', (43.19,-64.665), layer=10, texttype=1))
reference.add(gdstk.Label('avs', (47.45,-64.665), layer=10, texttype=1))
reference.add(gdstk.Label('avd', (77.83,-21.88), layer=10, texttype=1))
reference.add(gdstk.Label('avs', (77.41,-66.18), layer=10, texttype=1))
reference.add(gdstk.Label('avs', (44.61,-64.665), layer=10, texttype=1))
reference.add(gdstk.Label('avs', (50.29,-64.665), layer=10, texttype=1))
reference.add(gdstk.Label('avs', (73.07,-42.51), layer=10, texttype=1))
reference.add(gdstk.Label('avs', (81.75,-42.51), layer=10, texttype=1))
reference.add(gdstk.Label('avs', (63.07,-52.675), layer=10, texttype=1))
reference.add(gdstk.Label('avs', (53.13,-64.665), layer=10, texttype=1))
reference.add(gdstk.Label('avs', (19.505,-39.405), layer=10, texttype=1))
reference.add(gdstk.Label('avs', (30.045,-39.405), layer=10, texttype=1))
reference.add(gdstk.Label('avs', (48.87,-64.665), layer=10, texttype=1))
reference.add(gdstk.Label('avs', (46.03,-64.625), layer=10, texttype=1))
reference.add(gdstk.Label('avs', (46.03,-64.665), layer=10, texttype=1))
reference.add(gdstk.Label('avs', (68.96,-66.15), layer=10, texttype=1))
reference.add(gdstk.Label('avs', (64.88,-48.48), layer=10, texttype=1))
reference.add(gdstk.Label('avs', (51.71,-64.665), layer=10, texttype=1))
reference.add(gdstk.Label('b500mv', (54.55,-64.665), layer=10, texttype=1))
reference.add(gdstk.Label('avs', (43.19,-64.625), layer=10, texttype=1))
reference.add(gdstk.Label('avs', (53.13,-64.625), layer=10, texttype=1))
reference.add(gdstk.Label('avs', (63.07,-52.715), layer=10, texttype=1))

lib.write_gds('reference.gds')
